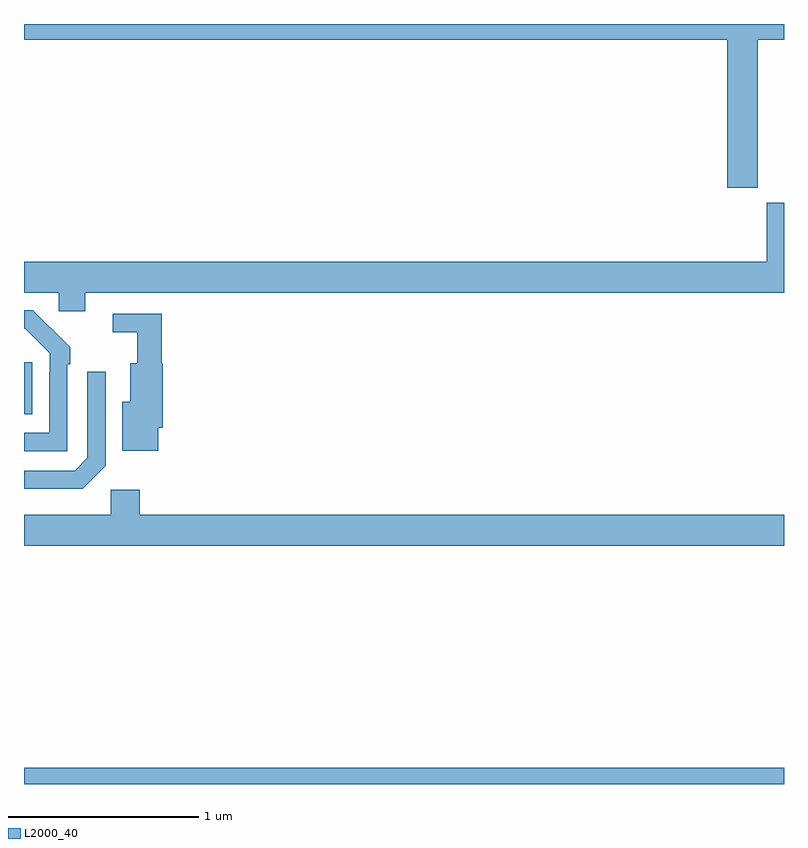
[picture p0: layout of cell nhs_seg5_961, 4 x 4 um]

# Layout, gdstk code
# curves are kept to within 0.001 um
import gdstk
lib = gdstk.Library(unit=1e-6, precision=1e-09)
def R(c, l, rs):  # rectangles x0, y0, x1, y1
    for r in rs: c.add(gdstk.rectangle(r[:2], r[2:], *l))
def P(c, l, *ps):  # polygons
    for p in ps: c.add(gdstk.Polygon(p, *l))
L2000_40 = (2000, 40)

nhs_seg5_961 = lib.new_cell('nhs_seg5_961')
R(nhs_seg5_961, L2000_40, [(171,896.799,175,896.884), (171,898.745,171.043,899.02)])
P(nhs_seg5_961, L2000_40, [(174.861,900.716),(175,900.716),(175,900.799),(171,900.799),(171,900.716),(174.701,900.716),(174.701,899.937),(174.861,899.937)],
  [(171.322,899.384),(175,899.384),(175,899.857),(174.908,899.857),(174.908,899.548),(171,899.548),(171,899.384),(171.183,899.384),(171.183,899.286),(171.322,899.286)],
  [(171.228,899.009),(171.243,899.009),(171.243,899.097),(171.046,899.292),(171,899.292),(171,899.196),(171.007,899.196),(171.135,899.067),(171.135,898.967),(171.132,898.967),(171.132,898.647),(171,898.647),(171,898.551),(171.228,898.551)],
  [(171.706,898.674),(171.731,898.674),(171.731,899.01),(171.725,899.01),(171.725,899.274),(171.468,899.274),(171.468,899.177),(171.597,899.177),(171.597,899.014),(171.56,899.014),(171.56,898.81),(171.518,898.81),(171.518,898.553),(171.706,898.553)],
  [(171.429,898.473),(171.429,898.969),(171.333,898.969),(171.333,898.515),(171.267,898.449),(171,898.449),(171,898.352),(171.308,898.352)],
  [(171.456,898.348),(171.456,898.216),(171,898.216),(171,898.052),(175,898.052),(175,898.216),(171.608,898.216),(171.608,898.348)])

lib.write_gds('nhs_seg5_961.gds')
